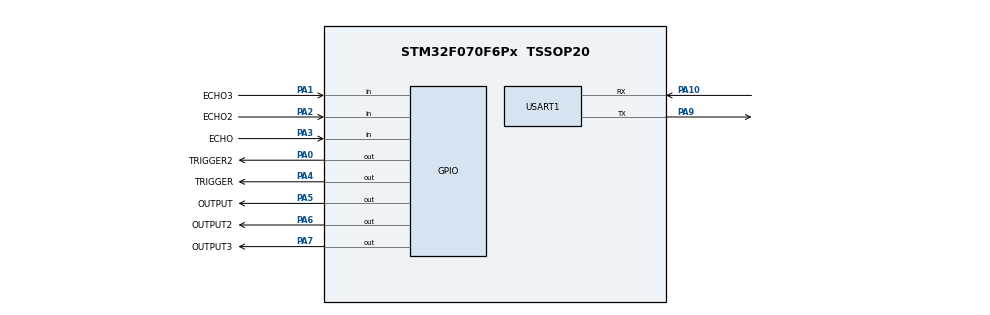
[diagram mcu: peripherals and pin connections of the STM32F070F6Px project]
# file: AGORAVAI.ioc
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Mcu.Family=STM32F0
Mcu.Name=STM32F070F6Px
Mcu.Package=TSSOP20
PA0.GPIO_Label=TRIGGER2
PA0.Signal=GPIO_Output
PA1.GPIO_Label=ECHO3
PA1.Signal=GPIO_Input
PA10.Mode=Asynchronous
PA10.Signal=USART1_RX
PA13.Mode=Serial_Wire
PA13.Signal=SYS_SWDIO
PA14.Mode=Serial_Wire
PA14.Signal=SYS_SWCLK
PA2.GPIO_Label=ECHO2
PA2.Signal=GPIO_Input
PA3.GPIO_Label=ECHO
PA3.Signal=GPIO_Input
PA4.GPIO_Label=TRIGGER
PA4.Signal=GPIO_Output
PA5.GPIO_Label=OUTPUT
PA5.Signal=GPIO_Output
PA6.GPIO_Label=OUTPUT2
PA6.Signal=GPIO_Output
PA7.GPIO_Label=OUTPUT3
PA7.Signal=GPIO_Output
PA9.Mode=Asynchronous
PA9.Signal=USART1_TX
ProjectManager.HeapSize=0x200
ProjectManager.StackSize=0x400
ProjectManager.TargetToolchain=STM32CubeIDE
TIM3.Prescaler=8-1
USART1.VirtualMode=VM_ASYNC
VP_TIM3_VS_ClockSourceINT.Mode=Internal
board=custom

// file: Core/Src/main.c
/* USER CODE BEGIN Header */
/**
  ******************************************************************************
  * @file           : main.c
  * @brief          : Main program body
  ******************************************************************************
  * @attention
  *
  * Copyright (c) 2022 STMicroelectronics.
  * All rights reserved.
  *
  * This software is licensed under terms that can be found in the LICENSE file
  * in the root directory of this software component.
  * If no LICENSE file comes with this software, it is provided AS-IS.
  *
  ******************************************************************************
  */
/* USER CODE END Header */
#include "main.h"

/* USER CODE BEGIN Includes */
#include <stdio.h>
#include <string.h>
/* USER CODE END Includes */

TIM_HandleTypeDef htim3;

UART_HandleTypeDef huart1;

void SystemClock_Config(void);
static void MX_GPIO_Init(void);
static void MX_TIM3_Init(void);
static void MX_USART1_UART_Init(void);
/* USER CODE BEGIN PFP */
void microDelay(uint32_t uSec);
/* USER CODE END PFP */

/* USER CODE BEGIN 0 */
const float speedOfSound = 0.0343/2;
float distance;
/* USER CODE END 0 */

int main(void)
{
  /* USER CODE BEGIN 1 */
	uint32_t cont;
  /* USER CODE END 1 */

  /* MCU Configuration--------------------------------------------------------*/

  /* Reset of all peripherals, Initializes the Flash interface and the Systick. */
  HAL_Init();

  /* Configure the system clock */
  SystemClock_Config();

  /* Initialize all configured peripherals */
  MX_GPIO_Init();
  MX_TIM3_Init();
  MX_USART1_UART_Init();

  /* Infinite loop */
  while (1)
  {

    /* USER CODE BEGIN 3 */

	//Ativa o segundo sensor
	HAL_GPIO_WritePin(TRIGGER_GPIO_Port, TRIGGER_Pin, GPIO_PIN_RESET);
	microDelay(3);

	// Ativa o trigger por 10us
	HAL_GPIO_WritePin(TRIGGER_GPIO_Port, TRIGGER_Pin, GPIO_PIN_SET);
	microDelay(10);
	HAL_GPIO_WritePin(TRIGGER_GPIO_Port, TRIGGER_Pin, GPIO_PIN_RESET);

	// Espera a chegada do sinal
	while(!(HAL_GPIO_ReadPin(ECHO2_GPIO_Port, ECHO2_Pin)));

	// Obtem o tempo em que o pino do ECHO está setado
	cont = 0;
	while(HAL_GPIO_ReadPin(ECHO2_GPIO_Port, ECHO2_Pin)){
		cont++;
		microDelay(2);
	}

	// Calcula a distância, 2.8 compensa uma imprecisão do microDelay()
	distance2 = ((cont + 0.0f) * 2.8 * speedOfSound) * 6.72074;

	// Se a distancia menor que 10, envia um sinal para os motores

	if (distance2 < 10){
		HAL_GPIO_WritePin(OUTPUT2_GPIO_Port, OUTPUT2_Pin, GPIO_PIN_SET);
	} else {
		HAL_GPIO_WritePin(OUTPUT2_GPIO_Port, OUTPUT2_Pin, GPIO_PIN_RESET);
	}

	// Delay de 0.25s de espera até a distância seja calculada novamente
	HAL_Delay(250);
  }
  /* USER CODE END 3 */
}

void SystemClock_Config(void)
{
  RCC_OscInitTypeDef RCC_OscInitStruct = {0};
  RCC_ClkInitTypeDef RCC_ClkInitStruct = {0};
  RCC_PeriphCLKInitTypeDef PeriphClkInit = {0};

  /** Initializes the RCC Oscillators according to the specified parameters
  * in the RCC_OscInitTypeDef structure.
  */
  RCC_OscInitStruct.OscillatorType = RCC_OSCILLATORTYPE_HSI;
  RCC_OscInitStruct.HSIState = RCC_HSI_ON;
  RCC_OscInitStruct.HSICalibrationValue = RCC_HSICALIBRATION_DEFAULT;
  RCC_OscInitStruct.PLL.PLLState = RCC_PLL_NONE;
  if (HAL_RCC_OscConfig(&RCC_OscInitStruct) != HAL_OK)
  {
    Error_Handler();
  }

  /** Initializes the CPU, AHB and APB buses clocks
  */
  RCC_ClkInitStruct.ClockType = RCC_CLOCKTYPE_HCLK|RCC_CLOCKTYPE_SYSCLK
                              |RCC_CLOCKTYPE_PCLK1;
  RCC_ClkInitStruct.SYSCLKSource = RCC_SYSCLKSOURCE_HSI;
  RCC_ClkInitStruct.AHBCLKDivider = RCC_SYSCLK_DIV1;
  RCC_ClkInitStruct.APB1CLKDivider = RCC_HCLK_DIV1;

  if (HAL_RCC_ClockConfig(&RCC_ClkInitStruct, FLASH_LATENCY_0) != HAL_OK)
  {
    Error_Handler();
  }
  PeriphClkInit.PeriphClockSelection = RCC_PERIPHCLK_USART1;
  PeriphClkInit.Usart1ClockSelection = RCC_USART1CLKSOURCE_PCLK1;
  if (HAL_RCCEx_PeriphCLKConfig(&PeriphClkInit) != HAL_OK)
  {
    Error_Handler();
  }
}

static void MX_TIM3_Init(void)
{

  TIM_ClockConfigTypeDef sClockSourceConfig = {0};
  TIM_MasterConfigTypeDef sMasterConfig = {0};

  htim3.Instance = TIM3;
  htim3.Init.Prescaler = 8-1;
  htim3.Init.CounterMode = TIM_COUNTERMODE_UP;
  htim3.Init.Period = 65535;
  htim3.Init.ClockDivision = TIM_CLOCKDIVISION_DIV1;
  htim3.Init.AutoReloadPreload = TIM_AUTORELOAD_PRELOAD_DISABLE;
  if (HAL_TIM_Base_Init(&htim3) != HAL_OK)
  {
    Error_Handler();
  }
  sClockSourceConfig.ClockSource = TIM_CLOCKSOURCE_INTERNAL;
  if (HAL_TIM_ConfigClockSource(&htim3, &sClockSourceConfig) != HAL_OK)
  {
    Error_Handler();
  }
  sMasterConfig.MasterOutputTrigger = TIM_TRGO_RESET;
  sMasterConfig.MasterSlaveMode = TIM_MASTERSLAVEMODE_DISABLE;
  if (HAL_TIMEx_MasterConfigSynchronization(&htim3, &sMasterConfig) != HAL_OK)
  {
    Error_Handler();
  }

}

static void MX_USART1_UART_Init(void)
{

  huart1.Instance = USART1;
  huart1.Init.BaudRate = 38400;
  huart1.Init.WordLength = UART_WORDLENGTH_8B;
  huart1.Init.StopBits = UART_STOPBITS_1;
  huart1.Init.Parity = UART_PARITY_NONE;
  huart1.Init.Mode = UART_MODE_TX_RX;
  huart1.Init.HwFlowCtl = UART_HWCONTROL_NONE;
  huart1.Init.OverSampling = UART_OVERSAMPLING_16;
  huart1.Init.OneBitSampling = UART_ONE_BIT_SAMPLE_DISABLE;
  huart1.AdvancedInit.AdvFeatureInit = UART_ADVFEATURE_NO_INIT;
  if (HAL_UART_Init(&huart1) != HAL_OK)
  {
    Error_Handler();
  }

}

static void MX_GPIO_Init(void)
{
  GPIO_InitTypeDef GPIO_InitStruct = {0};

  /* GPIO Ports Clock Enable */
  __HAL_RCC_GPIOA_CLK_ENABLE();

  /*Configure GPIO pin Output Level */
  HAL_GPIO_WritePin(GPIOA, TRIGGER2_Pin|TRIGGER_Pin|OUTPUT_Pin|OUTPUT2_Pin
                          |OUTPUT3_Pin, GPIO_PIN_RESET);

  /*Configure GPIO pins : TRIGGER2_Pin TRIGGER_Pin OUTPUT_Pin OUTPUT2_Pin
                           OUTPUT3_Pin */
  GPIO_InitStruct.Pin = TRIGGER2_Pin|TRIGGER_Pin|OUTPUT_Pin|OUTPUT2_Pin
                          |OUTPUT3_Pin;
  GPIO_InitStruct.Mode = GPIO_MODE_OUTPUT_PP;
  GPIO_InitStruct.Pull = GPIO_NOPULL;
  GPIO_InitStruct.Speed = GPIO_SPEED_FREQ_LOW;
  HAL_GPIO_Init(GPIOA, &GPIO_InitStruct);

  /*Configure GPIO pins : ECHO3_Pin ECHO2_Pin ECHO_Pin */
  GPIO_InitStruct.Pin = ECHO3_Pin|ECHO2_Pin|ECHO_Pin;
  GPIO_InitStruct.Mode = GPIO_MODE_INPUT;
  GPIO_InitStruct.Pull = GPIO_NOPULL;
  HAL_GPIO_Init(GPIOA, &GPIO_InitStruct);

}

/* USER CODE BEGIN 4 */
void microDelay(uint32_t uSec){
	if(uSec < 2) uSec = 2;
	TIM3->ARR = uSec - 1;
	TIM3->EGR = 1;
	TIM3->SR &= ~1;
	TIM3->CR1 |= 1;
	while((TIM3->SR&0x0001) != 1);
	TIM3->SR &= ~(0x0001);
}
/* USER CODE END 4 */

void Error_Handler(void)
{
  __disable_irq();
  while (1)
  {
  }
}
